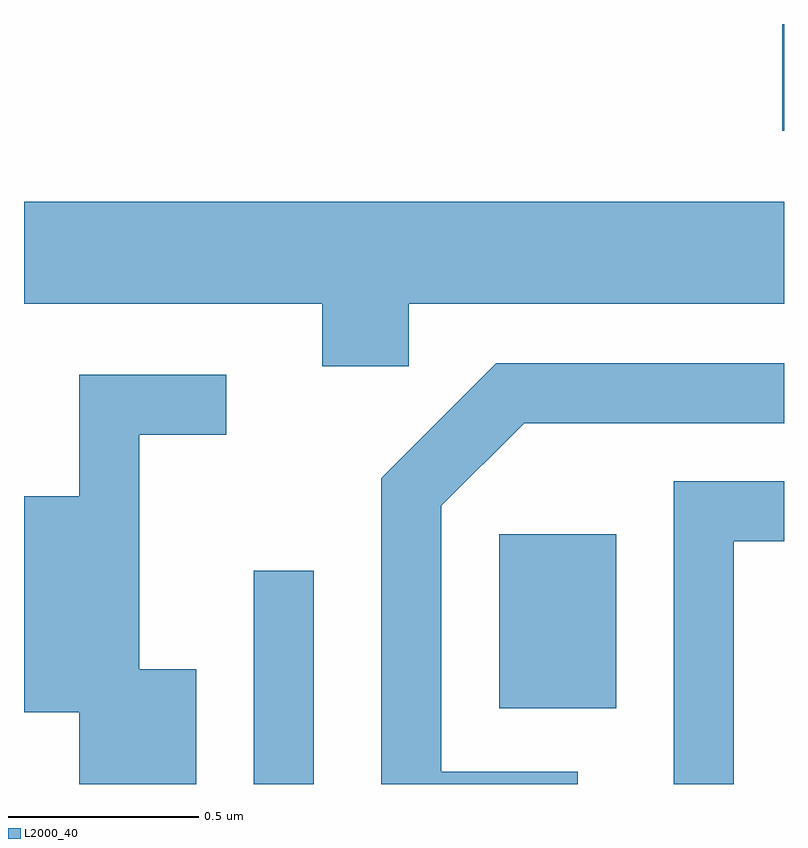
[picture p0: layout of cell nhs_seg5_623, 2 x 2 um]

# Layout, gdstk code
import gdstk
lib = gdstk.Library(unit=1e-6, precision=1e-09)
def R(c, l, rs):  # rectangles x0, y0, x1, y1
    for r in rs: c.add(gdstk.rectangle(r[:2], r[2:], *l))
def P(c, l, *ps):  # polygons
    for p in ps: c.add(gdstk.Polygon(p, *l))
L2000_40 = (2000, 40)

nhs_seg5_623 = lib.new_cell('nhs_seg5_623')
R(nhs_seg5_623, L2000_40, [(190.216,1471.072,190.374,1471.633), (190.861,1471.271,191.169,1471.729), (191.606,1472.791,191.611,1473.072)])
P(nhs_seg5_623, L2000_40, [(190.624,1472.336),(191.611,1472.336),(191.611,1472.604),(189.611,1472.604),(189.611,1472.336),(190.396,1472.336),(190.396,1472.171),(190.624,1472.171)],
  [(191.068,1471.104),(190.709,1471.104),(190.709,1471.804),(190.927,1472.021),(191.611,1472.021),(191.611,1472.179),(190.854,1472.179),(190.551,1471.877),(190.551,1471.072),(191.068,1471.072)],
  [(190.064,1471.374),(189.914,1471.374),(189.914,1471.991),(190.143,1471.991),(190.143,1472.149),(189.756,1472.149),(189.756,1471.829),(189.611,1471.829),(189.611,1471.261),(189.756,1471.261),(189.756,1471.072),(190.064,1471.072)],
  [(191.479,1471.711),(191.611,1471.711),(191.611,1471.869),(191.321,1471.869),(191.321,1471.072),(191.479,1471.072)])

lib.write_gds('nhs_seg5_623.gds')
